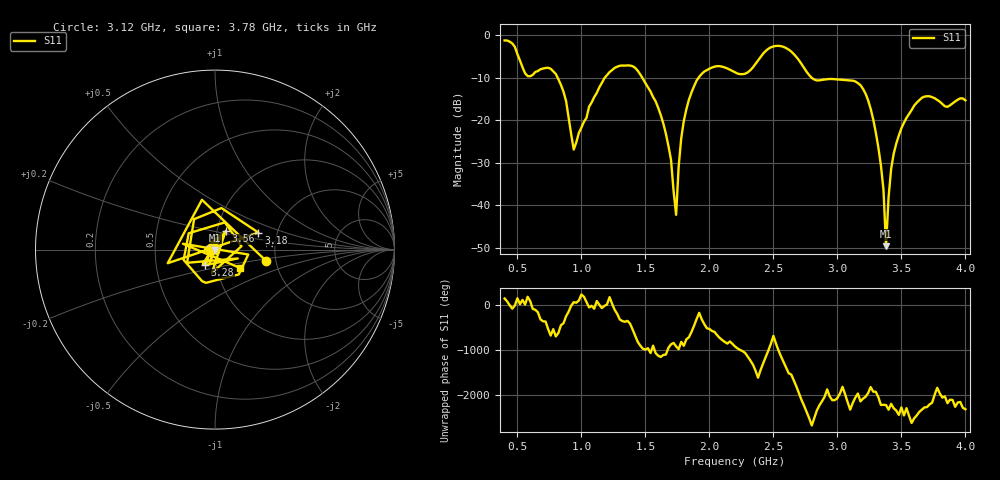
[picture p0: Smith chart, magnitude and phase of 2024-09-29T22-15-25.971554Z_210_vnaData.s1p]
!Created with skrf (http://scikit-rf.org).
# Hz S RI R 50.0
!freq ReS11 ImS11
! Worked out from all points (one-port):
!   181 points, 400 MHz to 4 GHz, reference 50 ohm
!   lowest |S11| = -49.7 dB at 3.38 GHz (marker M1), VSWR 1.01, Z = 50.2 - j0.282 ohm
!   |S11| at or under -10 dB: 814.7 MHz to 1.182 GHz (367.1 MHz wide, 36.8 % of centre); 1.476 GHz to 1.915 GHz (438.8 MHz wide, 25.9 % of centre); 2.799 GHz to end of sweep
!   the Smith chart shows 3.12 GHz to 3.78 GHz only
!   S11 on the Smith chart (normalised r, x): 3.12 GHz: 1.78, -0.25; 3.18 GHz: 1.60, +0.33; 3.28 GHz: 0.88, -0.15; 3.56 GHz: 1.10, +0.23; 3.78 GHz: 1.29, -0.27
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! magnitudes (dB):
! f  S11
! 400 MHz  -1.2
! 580 MHz  -9.6
! 760 MHz  -7.9
! 860 MHz  -13.3
! 940 MHz  -26.9
! 1.14 GHz  -12.2
! 1.3 GHz  -7.2
! 1.42 GHz  -7.6
! 1.6 GHz  -17.1
! 1.7 GHz  -29.3
! 1.74 GHz  -42.3
! 1.76 GHz  -30.8
! 1.8 GHz  -20.2
! 1.9 GHz  -10.6
! 2.2 GHz  -8.7
! 2.66 GHz  -4.4
! 2.82 GHz  -10.4
! 3.1 GHz  -10.6
! 3.12 GHz  -10.7
! 3.18 GHz  -11.7
! 3.28 GHz  -19.8
! 3.36 GHz  -36.4
! 3.38 GHz  -49.7
! 3.4 GHz  -38.1
! 3.44 GHz  -27.9
! 3.56 GHz  -18.5
! 3.78 GHz  -15.2
! 4 GHz  -15.3
